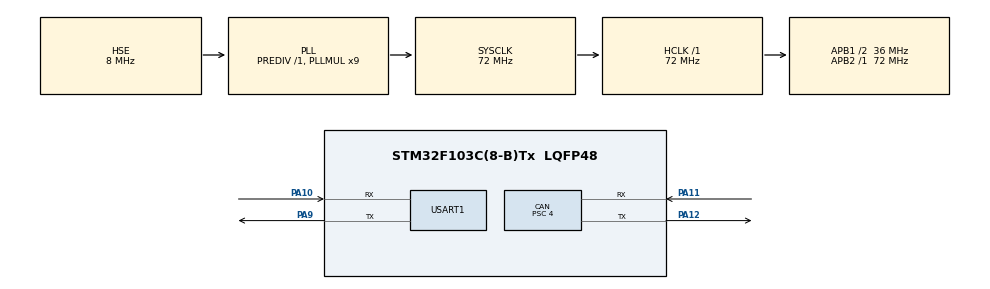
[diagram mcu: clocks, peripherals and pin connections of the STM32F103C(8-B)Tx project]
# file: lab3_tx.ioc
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CAN.BS1=CAN_BS1_13TQ
CAN.BS2=CAN_BS2_4TQ
CAN.CalculateBaudRate=500000
CAN.CalculateTimeBit=2000
CAN.CalculateTimeQuantum=111.11111111111111
CAN.Prescaler=4
CAN.SJW=CAN_SJW_2TQ
Mcu.Family=STM32F1
Mcu.Name=STM32F103C(8-B)Tx
Mcu.Package=LQFP48
NVIC.CAN1_RX1_IRQn=true\:0\:0\:false\:false\:true\:true\:true\:true
NVIC.PriorityGroup=NVIC_PRIORITYGROUP_4
PA10.Mode=Asynchronous
PA10.Signal=USART1_RX
PA11.Mode=CAN_Activate
PA11.Signal=CAN_RX
PA12.Mode=CAN_Activate
PA12.Signal=CAN_TX
PA13.Mode=Serial_Wire
PA13.Signal=SYS_JTMS-SWDIO
PA14.Mode=Serial_Wire
PA14.Signal=SYS_JTCK-SWCLK
PA9.Mode=Asynchronous
PA9.Signal=USART1_TX
PD0-OSC_IN.Mode=HSE-External-Oscillator
PD0-OSC_IN.Signal=RCC_OSC_IN
PD1-OSC_OUT.Mode=HSE-External-Oscillator
PD1-OSC_OUT.Signal=RCC_OSC_OUT
ProjectManager.HeapSize=0x200
ProjectManager.StackSize=0x400
ProjectManager.TargetToolchain=STM32CubeIDE
RCC.AHBFreq_Value=72000000
RCC.APB1CLKDivider=RCC_HCLK_DIV2
RCC.APB1Freq_Value=36000000
RCC.APB1TimFreq_Value=72000000
RCC.APB2Freq_Value=72000000
RCC.APB2TimFreq_Value=72000000
RCC.HCLKFreq_Value=72000000
RCC.PLLMUL=RCC_PLL_MUL9
RCC.PLLSourceVirtual=RCC_PLLSOURCE_HSE
RCC.SYSCLKFreq_VALUE=72000000
RCC.SYSCLKSource=RCC_SYSCLKSOURCE_PLLCLK
RCC.USBFreq_Value=72000000
USART1.VirtualMode=VM_ASYNC
board=custom

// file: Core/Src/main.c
/* USER CODE BEGIN Header */
/**
  ******************************************************************************
  * @file           : main.c
  * @brief          : Main program body
  ******************************************************************************
  * @attention
  *
  * Copyright (c) 2023 STMicroelectronics.
  * All rights reserved.
  *
  * This software is licensed under terms that can be found in the LICENSE file
  * in the root directory of this software component.
  * If no LICENSE file comes with this software, it is provided AS-IS.
  *
  ******************************************************************************
  */
/* USER CODE END Header */
#include "main.h"

/* USER CODE BEGIN PD */
uint8_t TRANSMIT_F[8] = "failed";
uint8_t TRANSMIT_T[8] = "success";
uint8_t Data1[8] = "12345677";
uint8_t Data2[8] = "AAAAAAAA";

/* USER CODE END PD */

CAN_HandleTypeDef hcan;

UART_HandleTypeDef huart1;

void SystemClock_Config(void);
static void MX_GPIO_Init(void);
static void MX_CAN_Init(void);
static void MX_USART1_UART_Init(void);

int main(void)
{

  /* MCU Configuration--------------------------------------------------------*/

  /* Reset of all peripherals, Initializes the Flash interface and the Systick. */
  HAL_Init();

  /* Configure the system clock */
  SystemClock_Config();

  /* Initialize all configured peripherals */
  MX_GPIO_Init();
  MX_CAN_Init();
  MX_USART1_UART_Init();
  /* USER CODE BEGIN 2 */
/*  CAN_FilterTypeDef Can_Filter = {
		  .FilterActivation = CAN_FILTER_ENABLE,
		  .FilterBank = 0,
  };
  HAL_CAN_ConfigFilter(&hcan, &Can_Filter);*/
  HAL_CAN_Start(&hcan);

   CAN_TxHeaderTypeDef TxHeader = {
 		  .DLC = 8,
 		  .IDE = CAN_ID_STD,
 		  .RTR = CAN_RTR_DATA,
 		  .StdId = 0x27C,
   };
  /* USER CODE END 2 */

  /* Infinite loop */
  /* USER CODE BEGIN WHILE */
  while (1)
  {

	uint32_t MailBox = 0;
	HAL_StatusTypeDef status = HAL_OK;

	status = HAL_CAN_AddTxMessage(&hcan, &TxHeader, Data1, &MailBox);
	if (status != HAL_OK)
	{
		HAL_UART_Transmit(&huart1, TRANSMIT_F, sizeof(TRANSMIT_F), 100);
	}
	else
	{
		HAL_UART_Transmit(&huart1, TRANSMIT_T, sizeof(TRANSMIT_T), 100);
	}
	HAL_Delay(1000);
	status = HAL_CAN_AddTxMessage(&hcan, &TxHeader, Data2, &MailBox);
	if (status != HAL_OK)
	{
		HAL_UART_Transmit(&huart1, TRANSMIT_F, sizeof(TRANSMIT_F), 100);
	}
	else
	{
	  HAL_UART_Transmit(&huart1, TRANSMIT_T, sizeof(TRANSMIT_T), 100);
	}
	HAL_Delay(1000);
    /* USER CODE END WHILE */

  }
}

void SystemClock_Config(void)
{
  RCC_OscInitTypeDef RCC_OscInitStruct = {0};
  RCC_ClkInitTypeDef RCC_ClkInitStruct = {0};

  /** Initializes the RCC Oscillators according to the specified parameters
  * in the RCC_OscInitTypeDef structure.
  */
  RCC_OscInitStruct.OscillatorType = RCC_OSCILLATORTYPE_HSE;
  RCC_OscInitStruct.HSEState = RCC_HSE_ON;
  RCC_OscInitStruct.HSEPredivValue = RCC_HSE_PREDIV_DIV1;
  RCC_OscInitStruct.HSIState = RCC_HSI_ON;
  RCC_OscInitStruct.PLL.PLLState = RCC_PLL_ON;
  RCC_OscInitStruct.PLL.PLLSource = RCC_PLLSOURCE_HSE;
  RCC_OscInitStruct.PLL.PLLMUL = RCC_PLL_MUL9;
  if (HAL_RCC_OscConfig(&RCC_OscInitStruct) != HAL_OK)
  {
    Error_Handler();
  }

  /** Initializes the CPU, AHB and APB buses clocks
  */
  RCC_ClkInitStruct.ClockType = RCC_CLOCKTYPE_HCLK|RCC_CLOCKTYPE_SYSCLK
                              |RCC_CLOCKTYPE_PCLK1|RCC_CLOCKTYPE_PCLK2;
  RCC_ClkInitStruct.SYSCLKSource = RCC_SYSCLKSOURCE_PLLCLK;
  RCC_ClkInitStruct.AHBCLKDivider = RCC_SYSCLK_DIV1;
  RCC_ClkInitStruct.APB1CLKDivider = RCC_HCLK_DIV2;
  RCC_ClkInitStruct.APB2CLKDivider = RCC_HCLK_DIV1;

  if (HAL_RCC_ClockConfig(&RCC_ClkInitStruct, FLASH_LATENCY_2) != HAL_OK)
  {
    Error_Handler();
  }
}

static void MX_CAN_Init(void)
{

  hcan.Instance = CAN1;
  hcan.Init.Prescaler = 4;
  hcan.Init.Mode = CAN_MODE_NORMAL;
  hcan.Init.SyncJumpWidth = CAN_SJW_2TQ;
  hcan.Init.TimeSeg1 = CAN_BS1_13TQ;
  hcan.Init.TimeSeg2 = CAN_BS2_4TQ;
  hcan.Init.TimeTriggeredMode = DISABLE;
  hcan.Init.AutoBusOff = DISABLE;
  hcan.Init.AutoWakeUp = DISABLE;
  hcan.Init.AutoRetransmission = DISABLE;
  hcan.Init.ReceiveFifoLocked = DISABLE;
  hcan.Init.TransmitFifoPriority = DISABLE;
  if (HAL_CAN_Init(&hcan) != HAL_OK)
  {
    Error_Handler();
  }

}

static void MX_USART1_UART_Init(void)
{

  huart1.Instance = USART1;
  huart1.Init.BaudRate = 115200;
  huart1.Init.WordLength = UART_WORDLENGTH_8B;
  huart1.Init.StopBits = UART_STOPBITS_1;
  huart1.Init.Parity = UART_PARITY_NONE;
  huart1.Init.Mode = UART_MODE_TX_RX;
  huart1.Init.HwFlowCtl = UART_HWCONTROL_NONE;
  huart1.Init.OverSampling = UART_OVERSAMPLING_16;
  if (HAL_UART_Init(&huart1) != HAL_OK)
  {
    Error_Handler();
  }

}

static void MX_GPIO_Init(void)
{

  /* GPIO Ports Clock Enable */
  __HAL_RCC_GPIOD_CLK_ENABLE();
  __HAL_RCC_GPIOA_CLK_ENABLE();

}

void Error_Handler(void)
{
  __disable_irq();
  while (1)
  {
  }
}
